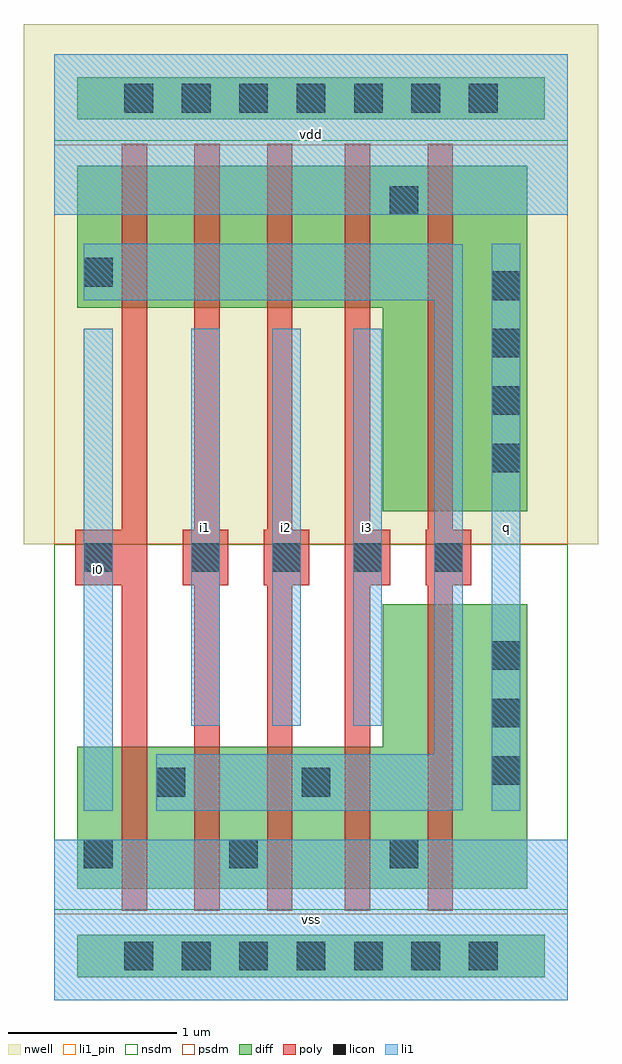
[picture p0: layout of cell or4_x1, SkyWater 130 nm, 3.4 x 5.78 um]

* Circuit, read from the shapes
.subckt or4_x1 i0 i1 i2 i3 q vdd vss
XM1 n1 i0 vss VSUBS sky130_fd_pr__nfet_01v8 w=0.84 l=0.15
XM2 vss i1 n1 VSUBS sky130_fd_pr__nfet_01v8 w=0.84 l=0.15
XM3 n1 i2 vss VSUBS sky130_fd_pr__nfet_01v8 w=0.84 l=0.15
XM4 vss i3 n1 VSUBS sky130_fd_pr__nfet_01v8 w=0.84 l=0.15
XM5 q n1 vss VSUBS sky130_fd_pr__nfet_01v8 w=1.685 l=0.15
XM6 n2 i0 n1 n3 sky130_fd_pr__pfet_01v8 w=0.84 l=0.15
XM7 n4 i1 n2 n3 sky130_fd_pr__pfet_01v8 w=0.84 l=0.15
XM8 n5 i2 n4 n3 sky130_fd_pr__pfet_01v8 w=0.84 l=0.15
XM9 vdd i3 n5 n3 sky130_fd_pr__pfet_01v8 w=0.84 l=0.15
XM10 q n1 vdd n3 sky130_fd_pr__pfet_01v8 w=2.045 l=0.15
.ends

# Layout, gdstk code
import gdstk
lib = gdstk.Library(unit=1e-6, precision=1e-09)
def R(c, l, rs):  # rectangles x0, y0, x1, y1
    for r in rs: c.add(gdstk.rectangle(r[:2], r[2:], *l))
def A(c, l, x, y, w, h, nx, ny, dx, dy):  # array of equal rectangles
    R(c, l, [(x+i*dx, y+j*dy, x+i*dx+w, y+j*dy+h) for i in range(nx) for j in range(ny)])
def P(c, l, *ps):  # polygons
    for p in ps: c.add(gdstk.Polygon(p, *l))
nwell = (64, 20)
diff = (65, 20)
poly = (66, 20)
licon = (66, 44)
li1_pin = (67, 16)
li1 = (67, 20)
nsdm = (93, 44)
psdm = (94, 20)

or4_x1 = lib.new_cell('or4_x1')
R(or4_x1, nwell, [(-0.18,2.7,3.22,5.78)])
R(or4_x1, diff, [(0.135,0.135,2.905,0.385), (0.135,5.215,2.905,5.465)])
P(or4_x1, diff, [(0.135,0.66),(0.135,1.5),(1.945,1.5),(1.945,2.345),(2.8,2.345),(2.8,0.66)],
  [(1.945,2.895),(1.945,4.1),(0.135,4.1),(0.135,4.94),(2.8,4.94),(2.8,2.895)])
P(or4_x1, poly, [(2.21,0.53),(2.21,2.455),(2.2,2.455),(2.2,2.785),(2.21,2.785),(2.21,5.07),(2.36,5.07),(2.36,2.785),(2.47,2.785),(2.47,2.455),(2.36,2.455),(2.36,0.53)],
  [(0.4,0.53),(0.4,2.455),(0.125,2.455),(0.125,2.785),(0.4,2.785),(0.4,5.07),(0.55,5.07),(0.55,0.53)],
  [(0.83,0.53),(0.83,2.455),(0.76,2.455),(0.76,2.785),(0.83,2.785),(0.83,5.07),(0.98,5.07),(0.98,2.785),(1.03,2.785),(1.03,2.455),(0.98,2.455),(0.98,0.53)],
  [(1.26,0.53),(1.26,2.455),(1.24,2.455),(1.24,2.785),(1.26,2.785),(1.26,5.07),(1.41,5.07),(1.41,2.785),(1.51,2.785),(1.51,2.455),(1.41,2.455),(1.41,0.53)],
  [(1.72,0.53),(1.72,5.07),(1.87,5.07),(1.87,2.785),(1.99,2.785),(1.99,2.455),(1.87,2.455),(1.87,0.53)])
A(or4_x1, licon, 0.415, 0.175, 0.17, 0.17, 7, 2, 0.34, 5.08)
A(or4_x1, licon, 2.59, 1.275, 0.17, 0.17, 1, 3, 0, 0.34)
A(or4_x1, licon, 0.81, 2.535, 0.17, 0.17, 4, 1, 0.48, 0)
A(or4_x1, licon, 2.59, 3.125, 0.17, 0.17, 1, 4, 0, 0.34)
R(or4_x1, licon, [(0.175,0.78,0.345,0.95), (1.035,0.78,1.205,0.95), (1.985,0.78,2.155,0.95), (0.605,1.205,0.775,1.375), (1.465,1.205,1.635,1.375), (0.175,2.535,0.345,2.705), (0.175,4.225,0.345,4.395), (1.985,4.65,2.155,4.82)])
A(or4_x1, li1_pin, 0.81, 1.625, 0.17, 2.35, 3, 1, 0.48, 0)
R(or4_x1, li1_pin, [(0,0,3.04,0.95), (0.175,1.12,0.345,3.975), (2.59,1.12,2.76,4.48), (0,4.65,3.04,5.6)])
A(or4_x1, li1, 0.81, 1.625, 0.17, 2.35, 3, 1, 0.48, 0)
R(or4_x1, li1, [(0,0,3.04,0.95), (0.175,1.12,0.345,3.975), (2.59,1.12,2.76,4.48), (0,4.65,3.04,5.6)])
P(or4_x1, li1, [(0.605,1.12),(0.605,1.455),(2.25,1.455),(2.25,4.145),(0.175,4.145),(0.175,4.48),(2.335,4.48),(2.335,4.475),(2.42,4.475),(2.42,1.125),(2.335,1.125),(2.335,1.12)])
R(or4_x1, nsdm, [(0,0.535,3.04,2.7), (0,5.09,3.04,5.6)])
R(or4_x1, psdm, [(0,0,3.04,0.51), (0,2.7,3.04,5.065)])
or4_x1.add(gdstk.Label('vss', (1.52,0.475), layer=67, texttype=16))
or4_x1.add(gdstk.Label('vdd', (1.52,5.125), layer=67, texttype=16))
or4_x1.add(gdstk.Label('i0', (0.26,2.548), layer=67, texttype=16))
or4_x1.add(gdstk.Label('i1', (0.895,2.8), layer=67, texttype=16))
or4_x1.add(gdstk.Label('i2', (1.375,2.8), layer=67, texttype=16))
or4_x1.add(gdstk.Label('i3', (1.855,2.8), layer=67, texttype=16))
or4_x1.add(gdstk.Label('q', (2.675,2.8), layer=67, texttype=16))

lib.write_gds('or4_x1.gds')
